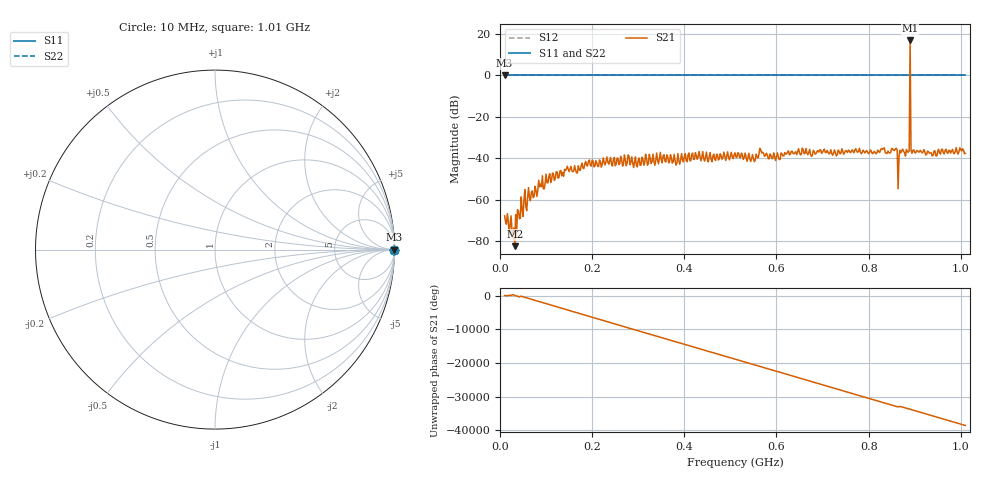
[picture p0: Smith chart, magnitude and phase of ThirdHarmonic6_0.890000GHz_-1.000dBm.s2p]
! 8/16/2025 5:15:50 AM
! C:\ANRITSUVNA\TEMP\TEMP.S2P
! CHANNEL.1
! TR.MEASUREMENT
! RAW.DATA
! RF.CORRECTION.OFF
! AVERAGING.OFF
! IF.BANDWIDTH: 5KHZ
! SWEEPTYPE:  FREQ.SWEEP(Linear)
! Reference Plane Port Info
! PORT:  PORT1  PORT2
! DISTANCE:  0  m  0  m
! TIME:  0  s  0  s
! PHASE.OFFSET:  0  deg.  0  deg.
! LOSS:  0  dB  0  dB
! REF.LOSS:  0  dB  0  dB
! REF.FREQ:  0  Hz  0  Hz
! Power Info
! POWER:  -20  dBm  -20  dBm
! EFF.POWER:  -20  dBm  -20  dBm
! SOURCE.ATTEN:  0  dB  0  dB
! TEST.ATTEN:  0  dB  0  dB
# GHZ S RI R 50.0
! FREQ.GHZ  S11RE  S11IM  S21RE  S21IM  S12RE  S12IM  S22RE  S22IM
!; PortSelection: Port_12
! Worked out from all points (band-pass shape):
!   501 points, 10 MHz to 1.01 GHz, reference 50 ohm
!   highest |S21| = 16.83 dB at 890 MHz (marker M1); lowest = -82.3 dB at 32 MHz (marker M2)
!   |S21| within 3 dB of the highest: 889.8872 MHz to 890.1136 MHz (226.4 kHz wide, 0.0254 % of centre)
!   lowest |S11| = 0.0 dB at 10 MHz (marker M3)
!   |S11| at or under -10 dB: nowhere
!   |S22| runs from 0.0 to 0.0 dB; largest |S21 - S12| = 7.3
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0.01  1 0  0.000409 3.75e-05  1 0  1 0
0.032  1 0  7.58e-05 -9.8e-06  1 0  1 0
0.042  1 0  0.000101 -0.000335  1 0  1 0
0.046  1 0  -0.00118 6.74e-05  1 0  1 0
0.05  1 0  0.000394 -6.05e-05  1 0  1 0
0.076  1 0  0.00194 0.000829  1 0  1 0
0.088  1 0  -0.000571 -0.00233  1 0  1 0
0.178  1 0  -0.00735 -0.00208  1 0  1 0
0.344  1 0  0.00738 0.000229  1 0  1 0
0.51  1 0  -0.0135 0.00117  1 0  1 0
0.678  1 0  0.00341 -0.0115  1 0  1 0
0.844  1 0  -0.000329 0.0137  1 0  1 0
0.858  1 0  -0.0048 -0.0162  1 0  1 0
0.86  1 0  -0.017 0.00412  1 0  1 0
0.868  1 0  -0.0149 -0.00472  1 0  1 0
0.87  1 0  -0.00854 0.0105  1 0  1 0
0.884  1 0  0.0032 -0.0142  1 0  1 0
0.886  1 0  -0.0126 -0.00613  1 0  1 0
0.89  1 0  -1.863 6.688  1 0  1 0
0.894  1 0  -0.00539 -0.012  1 0  1 0
0.896  1 0  -0.0153 0.00318  1 0  1 0
1.01  1 0  0.00298 -0.0129  1 0  1 0
